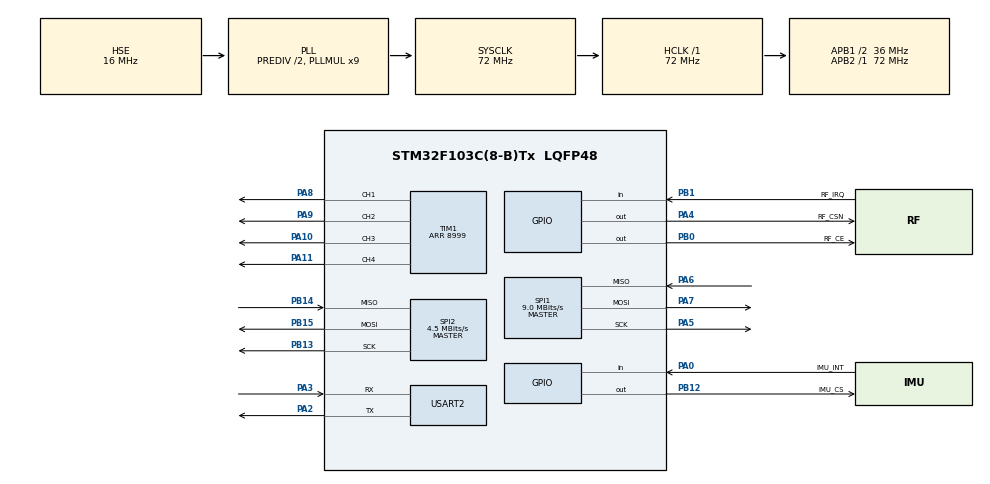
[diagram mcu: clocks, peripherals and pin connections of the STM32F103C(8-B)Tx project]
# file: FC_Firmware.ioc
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Mcu.Family=STM32F1
Mcu.Name=STM32F103C(8-B)Tx
Mcu.Package=LQFP48
NVIC.PriorityGroup=NVIC_PRIORITYGROUP_4
PA0-WKUP.GPIO_Label=IMU_INT
PA0-WKUP.Signal=GPIO_Input
PA10.Signal=S_TIM1_CH3
PA11.Signal=S_TIM1_CH4
PA13.Mode=Serial_Wire
PA13.Signal=SYS_JTMS-SWDIO
PA14.Mode=Serial_Wire
PA14.Signal=SYS_JTCK-SWCLK
PA2.Mode=Asynchronous
PA2.Signal=USART2_TX
PA3.Mode=Asynchronous
PA3.Signal=USART2_RX
PA4.GPIO_Label=RF_CSN
PA4.GPIO_Speed=GPIO_SPEED_FREQ_HIGH
PA4.PinState=GPIO_PIN_SET
PA4.Signal=GPIO_Output
PA5.Mode=Full_Duplex_Master
PA5.Signal=SPI1_SCK
PA6.Mode=Full_Duplex_Master
PA6.Signal=SPI1_MISO
PA7.Mode=Full_Duplex_Master
PA7.Signal=SPI1_MOSI
PA8.Signal=S_TIM1_CH1
PA9.Signal=S_TIM1_CH2
PB0.GPIO_Label=RF_CE
PB0.GPIO_Speed=GPIO_SPEED_FREQ_HIGH
PB0.PinState=GPIO_PIN_SET
PB0.Signal=GPIO_Output
PB1.GPIO_Label=RF_IRQ
PB1.Signal=GPIO_Input
PB12.GPIO_Label=IMU_CS
PB12.GPIO_Speed=GPIO_SPEED_FREQ_HIGH
PB12.PinState=GPIO_PIN_SET
PB12.Signal=GPIO_Output
PB13.Mode=Full_Duplex_Master
PB13.Signal=SPI2_SCK
PB14.Mode=Full_Duplex_Master
PB14.Signal=SPI2_MISO
PB15.Mode=Full_Duplex_Master
PB15.Signal=SPI2_MOSI
PD0-OSC_IN.Mode=HSE-External-Oscillator
PD0-OSC_IN.Signal=RCC_OSC_IN
PD1-OSC_OUT.Mode=HSE-External-Oscillator
PD1-OSC_OUT.Signal=RCC_OSC_OUT
ProjectManager.HeapSize=0x200
ProjectManager.StackSize=0x400
ProjectManager.TargetToolchain=STM32CubeIDE
RCC.AHBFreq_Value=72000000
RCC.APB1CLKDivider=RCC_HCLK_DIV2
RCC.APB1Freq_Value=36000000
RCC.APB1TimFreq_Value=72000000
RCC.APB2Freq_Value=72000000
RCC.APB2TimFreq_Value=72000000
RCC.HCLKFreq_Value=72000000
RCC.HSEDivPLL=RCC_HSE_PREDIV_DIV2
RCC.HSE_VALUE=16000000
RCC.PLLMUL=RCC_PLL_MUL9
RCC.PLLSourceVirtual=RCC_PLLSOURCE_HSE
RCC.SYSCLKFreq_VALUE=72000000
RCC.SYSCLKSource=RCC_SYSCLKSOURCE_PLLCLK
RCC.USBFreq_Value=72000000
SH.S_TIM1_CH1.0=TIM1_CH1,PWM Generation1 CH1
SH.S_TIM1_CH2.0=TIM1_CH2,PWM Generation2 CH2
SH.S_TIM1_CH3.0=TIM1_CH3,PWM Generation3 CH3
SH.S_TIM1_CH4.0=TIM1_CH4,PWM Generation4 CH4
SPI1.BaudRatePrescaler=SPI_BAUDRATEPRESCALER_8
SPI1.CalculateBaudRate=9.0 MBits/s
SPI1.Direction=SPI_DIRECTION_2LINES
SPI1.Mode=SPI_MODE_MASTER
SPI1.VirtualType=VM_MASTER
SPI2.BaudRatePrescaler=SPI_BAUDRATEPRESCALER_8
SPI2.CLKPhase=SPI_PHASE_2EDGE
SPI2.CLKPolarity=SPI_POLARITY_HIGH
SPI2.CalculateBaudRate=4.5 MBits/s
SPI2.Direction=SPI_DIRECTION_2LINES
SPI2.Mode=SPI_MODE_MASTER
SPI2.VirtualType=VM_MASTER
TIM1.AutoReloadPreload=TIM_AUTORELOAD_PRELOAD_ENABLE
TIM1.Channel-PWM\ Generation1\ CH1=TIM_CHANNEL_1
TIM1.Channel-PWM\ Generation2\ CH2=TIM_CHANNEL_2
TIM1.Channel-PWM\ Generation3\ CH3=TIM_CHANNEL_3
TIM1.Channel-PWM\ Generation4\ CH4=TIM_CHANNEL_4
TIM1.Period=8999
USART2.VirtualMode=VM_ASYNC
VP_TIM1_VS_ClockSourceINT.Mode=Internal
board=custom

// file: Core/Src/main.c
/* USER CODE BEGIN Header */
/**
  ******************************************************************************
  * @file           : main.c
  * @brief          : Main program body
  ******************************************************************************
  * @attention
  *
  * Copyright (c) 2026 STMicroelectronics.
  * All rights reserved.
  *
  * This software is licensed under terms that can be found in the LICENSE file
  * in the root directory of this software component.
  * If no LICENSE file comes with this software, it is provided AS-IS.
  *
  ******************************************************************************
  */
/* USER CODE END Header */
#include "main.h"

SPI_HandleTypeDef hspi1;
SPI_HandleTypeDef hspi2;

TIM_HandleTypeDef htim1;

UART_HandleTypeDef huart2;

/* USER CODE BEGIN PV */
static ICM_Handle  icm = { &hspi2, IMU_CS_GPIO_Port, IMU_CS_Pin };
static NRF_Handle  nrf = { &hspi1, RF_CE_GPIO_Port,  RF_CE_Pin,
                                    RF_CSN_GPIO_Port, RF_CSN_Pin };
static ICM_Data    imu_data;
static ICM_Offsets imu_off;
static RC_Packet   pkt;
static bool        pkt_fresh = false;
/* USER CODE END PV */

void SystemClock_Config(void);
static void MX_GPIO_Init(void);
static void MX_SPI1_Init(void);
static void MX_SPI2_Init(void);
static void MX_TIM1_Init(void);
static void MX_USART2_UART_Init(void);

int main(void)
{

  /* MCU Configuration--------------------------------------------------------*/

  /* Reset of all peripherals, Initializes the Flash interface and the Systick. */
  HAL_Init();

  /* Configure the system clock */
  SystemClock_Config();

  /* Initialize all configured peripherals */
  MX_GPIO_Init();
  MX_SPI1_Init();
  MX_SPI2_Init();
  MX_TIM1_Init();
  MX_USART2_UART_Init();

  /* USER CODE BEGIN 2 */
  SF_Init();
  if (ICM_Init(&icm) != HAL_OK) { Error_Handler(); }
  ICM_Calibrate(&icm, &imu_off);
  NRF_Init_RX(&nrf);
  Motor_Init(&htim1);
  FC_Init();
  /* USER CODE END 2 */

  /* Infinite loop */
  /* USER CODE BEGIN WHILE */
  while (1) {
      if (HAL_GPIO_ReadPin(IMU_INT_GPIO_Port, IMU_INT_Pin) == GPIO_PIN_SET) {
          ICM_Read(&icm, &imu_data);
          pkt_fresh = NRF_Receive(&nrf, &pkt);
          FC_Update(pkt_fresh ? &pkt : NULL, &imu_data, &imu_off);
      }
  /* USER CODE END WHILE */
  }

void SystemClock_Config(void)
{
  RCC_OscInitTypeDef RCC_OscInitStruct = {0};
  RCC_ClkInitTypeDef RCC_ClkInitStruct = {0};

  /** Initializes the RCC Oscillators according to the specified parameters
  * in the RCC_OscInitTypeDef structure.
  */
  RCC_OscInitStruct.OscillatorType = RCC_OSCILLATORTYPE_HSE;
  RCC_OscInitStruct.HSEState = RCC_HSE_ON;
  RCC_OscInitStruct.HSEPredivValue = RCC_HSE_PREDIV_DIV2;
  RCC_OscInitStruct.HSIState = RCC_HSI_ON;
  RCC_OscInitStruct.PLL.PLLState = RCC_PLL_ON;
  RCC_OscInitStruct.PLL.PLLSource = RCC_PLLSOURCE_HSE;
  RCC_OscInitStruct.PLL.PLLMUL = RCC_PLL_MUL9;
  if (HAL_RCC_OscConfig(&RCC_OscInitStruct) != HAL_OK)
  {
    Error_Handler();
  }

  /** Initializes the CPU, AHB and APB buses clocks
  */
  RCC_ClkInitStruct.ClockType = RCC_CLOCKTYPE_HCLK|RCC_CLOCKTYPE_SYSCLK
                              |RCC_CLOCKTYPE_PCLK1|RCC_CLOCKTYPE_PCLK2;
  RCC_ClkInitStruct.SYSCLKSource = RCC_SYSCLKSOURCE_PLLCLK;
  RCC_ClkInitStruct.AHBCLKDivider = RCC_SYSCLK_DIV1;
  RCC_ClkInitStruct.APB1CLKDivider = RCC_HCLK_DIV2;
  RCC_ClkInitStruct.APB2CLKDivider = RCC_HCLK_DIV1;

  if (HAL_RCC_ClockConfig(&RCC_ClkInitStruct, FLASH_LATENCY_2) != HAL_OK)
  {
    Error_Handler();
  }
}

static void MX_SPI1_Init(void)
{

  /* SPI1 parameter configuration*/
  hspi1.Instance = SPI1;
  hspi1.Init.Mode = SPI_MODE_MASTER;
  hspi1.Init.Direction = SPI_DIRECTION_2LINES;
  hspi1.Init.DataSize = SPI_DATASIZE_8BIT;
  hspi1.Init.CLKPolarity = SPI_POLARITY_LOW;
  hspi1.Init.CLKPhase = SPI_PHASE_1EDGE;
  hspi1.Init.NSS = SPI_NSS_SOFT;
  hspi1.Init.BaudRatePrescaler = SPI_BAUDRATEPRESCALER_8;
  hspi1.Init.FirstBit = SPI_FIRSTBIT_MSB;
  hspi1.Init.TIMode = SPI_TIMODE_DISABLE;
  hspi1.Init.CRCCalculation = SPI_CRCCALCULATION_DISABLE;
  hspi1.Init.CRCPolynomial = 10;
  if (HAL_SPI_Init(&hspi1) != HAL_OK)
  {
    Error_Handler();
  }

}

static void MX_SPI2_Init(void)
{

  /* SPI2 parameter configuration*/
  hspi2.Instance = SPI2;
  hspi2.Init.Mode = SPI_MODE_MASTER;
  hspi2.Init.Direction = SPI_DIRECTION_2LINES;
  hspi2.Init.DataSize = SPI_DATASIZE_8BIT;
  hspi2.Init.CLKPolarity = SPI_POLARITY_HIGH;
  hspi2.Init.CLKPhase = SPI_PHASE_2EDGE;
  hspi2.Init.NSS = SPI_NSS_SOFT;
  hspi2.Init.BaudRatePrescaler = SPI_BAUDRATEPRESCALER_8;
  hspi2.Init.FirstBit = SPI_FIRSTBIT_MSB;
  hspi2.Init.TIMode = SPI_TIMODE_DISABLE;
  hspi2.Init.CRCCalculation = SPI_CRCCALCULATION_DISABLE;
  hspi2.Init.CRCPolynomial = 10;
  if (HAL_SPI_Init(&hspi2) != HAL_OK)
  {
    Error_Handler();
  }

}

static void MX_TIM1_Init(void)
{

  TIM_ClockConfigTypeDef sClockSourceConfig = {0};
  TIM_MasterConfigTypeDef sMasterConfig = {0};
  TIM_OC_InitTypeDef sConfigOC = {0};
  TIM_BreakDeadTimeConfigTypeDef sBreakDeadTimeConfig = {0};

  htim1.Instance = TIM1;
  htim1.Init.Prescaler = 0;
  htim1.Init.CounterMode = TIM_COUNTERMODE_UP;
  htim1.Init.Period = 8999;
  htim1.Init.ClockDivision = TIM_CLOCKDIVISION_DIV1;
  htim1.Init.RepetitionCounter = 0;
  htim1.Init.AutoReloadPreload = TIM_AUTORELOAD_PRELOAD_ENABLE;
  if (HAL_TIM_Base_Init(&htim1) != HAL_OK)
  {
    Error_Handler();
  }
  sClockSourceConfig.ClockSource = TIM_CLOCKSOURCE_INTERNAL;
  if (HAL_TIM_ConfigClockSource(&htim1, &sClockSourceConfig) != HAL_OK)
  {
    Error_Handler();
  }
  if (HAL_TIM_PWM_Init(&htim1) != HAL_OK)
  {
    Error_Handler();
  }
  sMasterConfig.MasterOutputTrigger = TIM_TRGO_RESET;
  sMasterConfig.MasterSlaveMode = TIM_MASTERSLAVEMODE_DISABLE;
  if (HAL_TIMEx_MasterConfigSynchronization(&htim1, &sMasterConfig) != HAL_OK)
  {
    Error_Handler();
  }
  sConfigOC.OCMode = TIM_OCMODE_PWM1;
  sConfigOC.Pulse = 0;
  sConfigOC.OCPolarity = TIM_OCPOLARITY_HIGH;
  sConfigOC.OCNPolarity = TIM_OCNPOLARITY_HIGH;
  sConfigOC.OCFastMode = TIM_OCFAST_DISABLE;
  sConfigOC.OCIdleState = TIM_OCIDLESTATE_RESET;
  sConfigOC.OCNIdleState = TIM_OCNIDLESTATE_RESET;
  if (HAL_TIM_PWM_ConfigChannel(&htim1, &sConfigOC, TIM_CHANNEL_1) != HAL_OK)
  {
    Error_Handler();
  }
  if (HAL_TIM_PWM_ConfigChannel(&htim1, &sConfigOC, TIM_CHANNEL_2) != HAL_OK)
  {
    Error_Handler();
  }
  if (HAL_TIM_PWM_ConfigChannel(&htim1, &sConfigOC, TIM_CHANNEL_3) != HAL_OK)
  {
    Error_Handler();
  }
  if (HAL_TIM_PWM_ConfigChannel(&htim1, &sConfigOC, TIM_CHANNEL_4) != HAL_OK)
  {
    Error_Handler();
  }
  sBreakDeadTimeConfig.OffStateRunMode = TIM_OSSR_DISABLE;
  sBreakDeadTimeConfig.OffStateIDLEMode = TIM_OSSI_DISABLE;
  sBreakDeadTimeConfig.LockLevel = TIM_LOCKLEVEL_OFF;
  sBreakDeadTimeConfig.DeadTime = 0;
  sBreakDeadTimeConfig.BreakState = TIM_BREAK_DISABLE;
  sBreakDeadTimeConfig.BreakPolarity = TIM_BREAKPOLARITY_HIGH;
  sBreakDeadTimeConfig.AutomaticOutput = TIM_AUTOMATICOUTPUT_DISABLE;
  if (HAL_TIMEx_ConfigBreakDeadTime(&htim1, &sBreakDeadTimeConfig) != HAL_OK)
  {
    Error_Handler();
  }
  HAL_TIM_MspPostInit(&htim1);

}

static void MX_USART2_UART_Init(void)
{

  huart2.Instance = USART2;
  huart2.Init.BaudRate = 115200;
  huart2.Init.WordLength = UART_WORDLENGTH_8B;
  huart2.Init.StopBits = UART_STOPBITS_1;
  huart2.Init.Parity = UART_PARITY_NONE;
  huart2.Init.Mode = UART_MODE_TX_RX;
  huart2.Init.HwFlowCtl = UART_HWCONTROL_NONE;
  huart2.Init.OverSampling = UART_OVERSAMPLING_16;
  if (HAL_UART_Init(&huart2) != HAL_OK)
  {
    Error_Handler();
  }

}

static void MX_GPIO_Init(void)
{
  GPIO_InitTypeDef GPIO_InitStruct = {0};

  /* GPIO Ports Clock Enable */
  __HAL_RCC_GPIOD_CLK_ENABLE();
  __HAL_RCC_GPIOA_CLK_ENABLE();
  __HAL_RCC_GPIOB_CLK_ENABLE();

  /*Configure GPIO pin Output Level */
  HAL_GPIO_WritePin(RF_CSN_GPIO_Port, RF_CSN_Pin, GPIO_PIN_SET);

  /*Configure GPIO pin Output Level */
  HAL_GPIO_WritePin(GPIOB, RF_CE_Pin|IMU_CS_Pin, GPIO_PIN_SET);

  /*Configure GPIO pin : IMU_INT_Pin */
  GPIO_InitStruct.Pin = IMU_INT_Pin;
  GPIO_InitStruct.Mode = GPIO_MODE_INPUT;
  GPIO_InitStruct.Pull = GPIO_NOPULL;
  HAL_GPIO_Init(IMU_INT_GPIO_Port, &GPIO_InitStruct);

  /*Configure GPIO pin : RF_CSN_Pin */
  GPIO_InitStruct.Pin = RF_CSN_Pin;
  GPIO_InitStruct.Mode = GPIO_MODE_OUTPUT_PP;
  GPIO_InitStruct.Pull = GPIO_NOPULL;
  GPIO_InitStruct.Speed = GPIO_SPEED_FREQ_HIGH;
  HAL_GPIO_Init(RF_CSN_GPIO_Port, &GPIO_InitStruct);

  /*Configure GPIO pins : RF_CE_Pin IMU_CS_Pin */
  GPIO_InitStruct.Pin = RF_CE_Pin|IMU_CS_Pin;
  GPIO_InitStruct.Mode = GPIO_MODE_OUTPUT_PP;
  GPIO_InitStruct.Pull = GPIO_NOPULL;
  GPIO_InitStruct.Speed = GPIO_SPEED_FREQ_HIGH;
  HAL_GPIO_Init(GPIOB, &GPIO_InitStruct);

  /*Configure GPIO pin : RF_IRQ_Pin */
  GPIO_InitStruct.Pin = RF_IRQ_Pin;
  GPIO_InitStruct.Mode = GPIO_MODE_INPUT;
  GPIO_InitStruct.Pull = GPIO_NOPULL;
  HAL_GPIO_Init(RF_IRQ_GPIO_Port, &GPIO_InitStruct);

}

void Error_Handler(void)
{
  __disable_irq();
  while (1)
  {
  }
}
